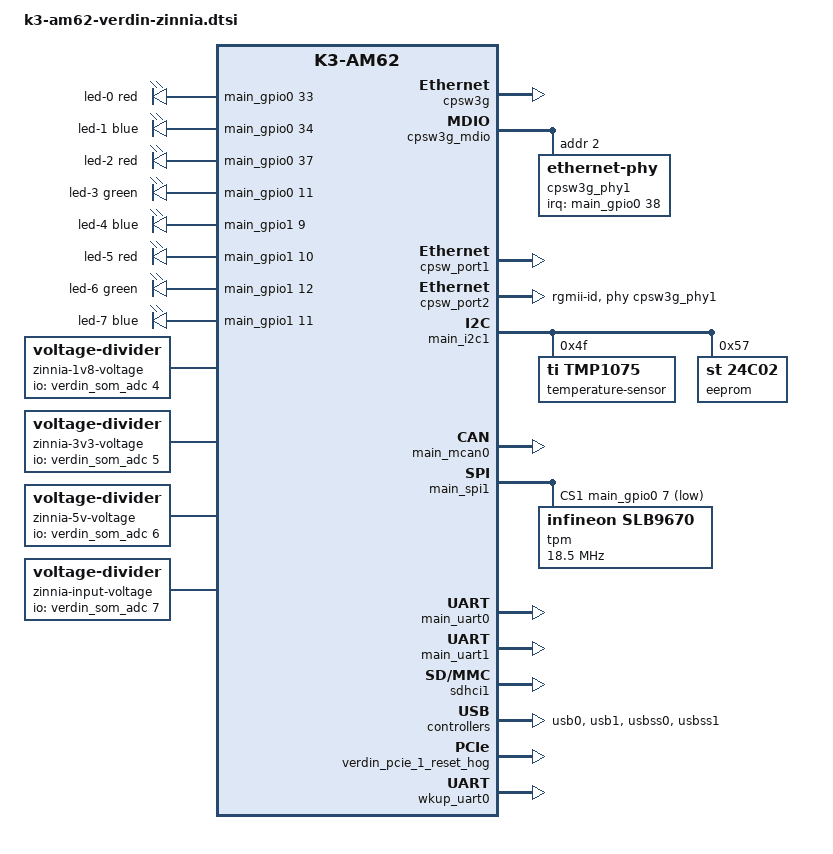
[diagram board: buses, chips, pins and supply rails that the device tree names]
// SPDX-License-Identifier: GPL-2.0-or-later OR MIT
/*
 * Copyright (c) Toradex
 *
 * Common dtsi for Verdin AM62 SoM on Zinnia carrier board
 *
 * https://www.toradex.com/computer-on-modules/verdin-arm-family/ti-am62
 * https://www.toradex.com/products/carrier-board/zinnia-carrier-board
 */

#include <dt-bindings/leds/common.h>
#include <dt-bindings/net/ti-dp83867.h>

/ {
	leds {
		compatible = "gpio-leds";
		pinctrl-names = "default";
		pinctrl-0 = <&pinctrl_zinnia_leds>;

		/* LED1 Red - SODIMM 48 - LED1_R */
		led-0 {
			color = <LED_COLOR_ID_RED>;
			default-state = "off";
			function = LED_FUNCTION_STATUS;
			function-enumerator = <1>;
			gpios = <&main_gpio0 33 GPIO_ACTIVE_HIGH>;
		};

		/* LED1 Blue - SODIMM 46 - LED1_B */
		led-1 {
			color = <LED_COLOR_ID_BLUE>;
			default-state = "off";
			function = LED_FUNCTION_STATUS;
			function-enumerator = <1>;
			gpios = <&main_gpio0 34 GPIO_ACTIVE_HIGH>;
		};

		/* LED3 Red - SODIMM 44 - LED3_R */
		led-2 {
			color = <LED_COLOR_ID_RED>;
			default-state = "off";
			function = LED_FUNCTION_STATUS;
			function-enumerator = <3>;
			gpios = <&main_gpio0 37 GPIO_ACTIVE_HIGH>;
		};

		/* LED3 Green - SODIMM 54 - LED3_G */
		led-3 {
			color = <LED_COLOR_ID_GREEN>;
			default-state = "off";
			function = LED_FUNCTION_STATUS;
			function-enumerator = <3>;
			gpios = <&main_gpio0 11 GPIO_ACTIVE_HIGH>;
		};

		/* LED3 Blue - SODIMM 36 - LED3_B */
		led-4 {
			color = <LED_COLOR_ID_BLUE>;
			default-state = "off";
			function = LED_FUNCTION_STATUS;
			function-enumerator = <3>;
			gpios = <&main_gpio1 9 GPIO_ACTIVE_HIGH>;
		};

		/* LED4 Red - SODIMM 34 - LED4_R */
		led-5 {
			color = <LED_COLOR_ID_RED>;
			default-state = "off";
			function = LED_FUNCTION_STATUS;
			function-enumerator = <4>;
			gpios = <&main_gpio1 10 GPIO_ACTIVE_HIGH>;
		};

		/* LED4 Green - SODIMM 32 - LED4_G */
		led-6 {
			color = <LED_COLOR_ID_GREEN>;
			default-state = "off";
			function = LED_FUNCTION_STATUS;
			function-enumerator = <4>;
			gpios = <&main_gpio1 12 GPIO_ACTIVE_HIGH>;
		};

		/* LED4 Blue - SODIMM 30 - LED4_B */
		led-7 {
			color = <LED_COLOR_ID_BLUE>;
			default-state = "off";
			function = LED_FUNCTION_STATUS;
			function-enumerator = <4>;
			gpios = <&main_gpio1 11 GPIO_ACTIVE_HIGH>;
		};
	};

	zinnia-1v8-voltage {
		compatible = "voltage-divider";
		/* Verdin ADC_4 */
		io-channels = <&verdin_som_adc 4>;
		full-ohms = <39000>; /* 12K + 27K */
		output-ohms = <27000>;
	};

	zinnia-3v3-voltage {
		compatible = "voltage-divider";
		/* Verdin ADC_3 */
		io-channels = <&verdin_som_adc 5>;
		full-ohms = <54000>; /* 27K + 27K */
		output-ohms = <27000>;
	};

	zinnia-5v-voltage {
		compatible = "voltage-divider";
		/* Verdin ADC_2 */
		io-channels = <&verdin_som_adc 6>;
		full-ohms = <39000>; /* 27K + 12K */
		output-ohms = <12000>;
	};

	/* Zinnia Power Supply Input Voltage */
	zinnia-input-voltage {
		compatible = "voltage-divider";
		/* Verdin ADC_1 */
		io-channels = <&verdin_som_adc 7>;
		full-ohms = <204700>; /* 200K + 4.7K */
		output-ohms = <4700>;
	};
};

&main_pmx0 {
	pinctrl_zinnia_leds: zinnia-leds-default-pins {
		pinctrl-single,pins = <
			AM62X_IOPAD(0x019c, PIN_INPUT, 7) /* (B18) MCASP0_AXR1.GPIO1_9    */ /* SODIMM 36 */
			AM62X_IOPAD(0x01a0, PIN_INPUT, 7) /* (B20) MCASP0_AXR0.GPIO1_10   */ /* SODIMM 34 */
			AM62X_IOPAD(0x01a4, PIN_INPUT, 7) /* (A19) MCASP0_ACLKX.GPIO1_11  */ /* SODIMM 30 */
			AM62X_IOPAD(0x01a8, PIN_INPUT, 7) /* (A20) MCASP0_AFSX.GPIO1_12   */ /* SODIMM 32 */
			AM62X_IOPAD(0x0088, PIN_INPUT, 7) /* (L17) GPMC0_OEn_REn.GPIO0_33 */ /* SODIMM 48 */
			AM62X_IOPAD(0x0098, PIN_INPUT, 7) /* (R18) GPMC0_WAIT0.GPIO0_37   */ /* SODIMM 44 */
			AM62X_IOPAD(0x008c, PIN_INPUT, 7) /* (L25) GPMC0_WEn.GPIO0_34     */ /* SODIMM 46 */
			AM62X_IOPAD(0x002c, PIN_INPUT, 7) /* (F23) OSPI0_CSn0.GPIO0_11    */ /* SODIMM 54 */
		>;
	};
};

&mcu_pmx0 {
	pinctrl_zinnia_spi1_cs0_gpio: mcu-gpio0-11-default-pins {
		pinctrl-single,pins = <
			AM62X_MCU_IOPAD(0x002c, PIN_INPUT, 7) /* (C6) WKUP_UART0_CTSn.GPIO0_11 */ /* SODIMM 143 */
		>;
	};
};

/* Verdin ETH */
&cpsw3g {
	status = "okay";
};

/* MDIO, shared by Verdin ETH_1 (On-module PHY) and Verdin ETH_2_RGMII */
&cpsw3g_mdio {
	status = "okay";

	cpsw3g_phy1: ethernet-phy@2 {
		reg = <2>;
		pinctrl-names = "default";
		pinctrl-0 = <&pinctrl_eth2_rgmii_int>;
		interrupt-parent = <&main_gpio0>;
		interrupts = <38 IRQ_TYPE_EDGE_FALLING>;
		ti,rx-internal-delay = <DP83867_RGMIIDCTL_2_00_NS>;
	};
};

/* Verdin ETH_1 */
&cpsw_port1 {
	status = "okay";
};

/* Verdin ETH_2_RGMII */
&cpsw_port2 {
	phy-handle = <&cpsw3g_phy1>;
	phy-mode = "rgmii-id";

	status = "okay";
};

&main_gpio0 {
	pinctrl-names = "default";
	pinctrl-0 = <&pinctrl_ctrl_sleep_moci>,
		    <&pinctrl_gpio_5>,
		    <&pinctrl_gpio_6>,
		    <&pinctrl_gpio_7>,
		    <&pinctrl_gpio_8>,
		    <&pinctrl_qspi1_io0_gpio>;
	gpio-line-names =
		"", /* 0 */
		"",
		"",
		"DI3_RB", /* SODIMM 56 */
		"",
		"",
		"",
		"",
		"",
		"",
		"", /* 10 */
		"",
		"",
		"",
		"",
		"",
		"",
		"",
		"",
		"",
		"", /* 20 */
		"",
		"",
		"",
		"",
		"",
		"",
		"",
		"",
		"",
		"", /* 30 */
		"",
		"",
		"",
		"",
		"",
		"DI2_EN", /* SODIMM 218 */
		"",
		"",
		"",
		"DI2_RB", /* SODIMM 216 */ /* 40 */
		"DO3_EN", /* SODIMM 220 */
		"DI3_EN", /* SODIMM 222 */
		"",
		"",
		"",
		"",
		"",
		"",
		"",
		"", /* 50 */
		"",
		"",
		"",
		"",
		"",
		"",
		"",
		"",
		"",
		"", /* 60 */
		"",
		"",
		"",
		"",
		"",
		"",
		"",
		"",
		"",
		"", /* 70 */
		"",
		"",
		"",
		"",
		"",
		"",
		"",
		"",
		"",
		"", /* 80 */
		"",
		"",
		"",
		"",
		"",
		"";
};

&main_gpio1 {
	gpio-line-names =
		"", /* 0 */
		"",
		"",
		"",
		"",
		"",
		"",
		"",
		"",
		"",
		"", /* 10 */
		"",
		"",
		"",
		"",
		"",
		"",
		"",
		"",
		"",
		"", /* 20 */
		"",
		"",
		"",
		"",
		"",
		"",
		"",
		"",
		"",
		"", /* 30 */
		"",
		"",
		"",
		"",
		"",
		"",
		"",
		"",
		"",
		"", /* 40 */
		"",
		"",
		"",
		"",
		"",
		"",
		"",
		"",
		"",
		"", /* 50 */
		"",
		"",
		"",
		"",
		"",
		"",
		"",
		"",
		"",
		"", /* 60 */
		"",
		"",
		"",
		"",
		"",
		"",
		"",
		"",
		"",
		"", /* 70 */
		"",
		"",
		"",
		"",
		"",
		"",
		"",
		"",
		"",
		"", /* 80 */
		"",
		"",
		"",
		"",
		"",
		"",
		"";
};

/* Verdin I2C_1 */
&main_i2c1 {
	status = "okay";

	temperature-sensor@4f {
		compatible = "ti,tmp1075";
		reg = <0x4f>;
	};

	eeprom@57 {
		compatible = "st,24c02", "atmel,24c02";
		reg = <0x57>;
		pagesize = <16>;
	};
};

/* Verdin CAN_1 */
&main_mcan0 {
	status = "okay";
};

/* Verdin SPI_1 */
&main_spi1 {
	pinctrl-0 = <&pinctrl_spi1>,
		    <&pinctrl_zinnia_spi1_cs0_gpio>,
		    <&pinctrl_spi1_cs_gpio>;
	cs-gpios = <&mcu_gpio0 11 GPIO_ACTIVE_LOW>,
		   <&main_gpio0 7 GPIO_ACTIVE_LOW>;

	status = "okay";

	tpm@1 {
		compatible = "infineon,slb9670", "tcg,tpm_tis-spi";
		reg = <1>;
		spi-max-frequency = <18500000>;
	};
};

/* Verdin UART_3 */
&main_uart0 {
	status = "okay";
};

/* Verdin UART_1 */
&main_uart1 {
	status = "okay";
};

&mcu_gpio0 {
	pinctrl-names = "default";
	pinctrl-0 = <&pinctrl_gpio_1>,
		    <&pinctrl_gpio_2>,
		    <&pinctrl_gpio_3>,
		    <&pinctrl_gpio_4>,
		    <&pinctrl_pcie_1_reset>;
	gpio-line-names =
		"",
		"DO1_EN", /* SODIMM 206 */
		"DI1_EN", /* SODIMM 208 */
		"DI1_RB", /* SODIMM 210 */
		"DO2_EN", /* SODIMM 212 */
		"",
		"",
		"",
		"",
		"",
		"",
		"",
		"",
		"",
		"",
		"",
		"",
		"",
		"",
		"",
		"",
		"",
		"",
		"";
};

/* Verdin SD_1 */
&sdhci1 {
	status = "okay";
};

/* Verdin USB_1 */
&usb0 {
	status = "okay";
};

/* Verdin USB_2 */
&usb1 {
	status = "okay";
};

/* Verdin USB_1 */
&usbss0 {
	status = "okay";
};

/* Verdin USB_2 */
&usbss1 {
	status = "okay";
};

/* Verdin PCIE_1_RESET# */
&verdin_pcie_1_reset_hog {
	status = "okay";
};

/* Verdin UART_2 */
&wkup_uart0 {
	pinctrl-names = "default";
	pinctrl-0 = <&pinctrl_wkup_uart0>, <&pinctrl_wkup_uart0_rts>;
	rs485-rts-active-low;
	rs485-rx-during-tx;
	linux,rs485-enabled-at-boot-time;

	status = "okay";
};
